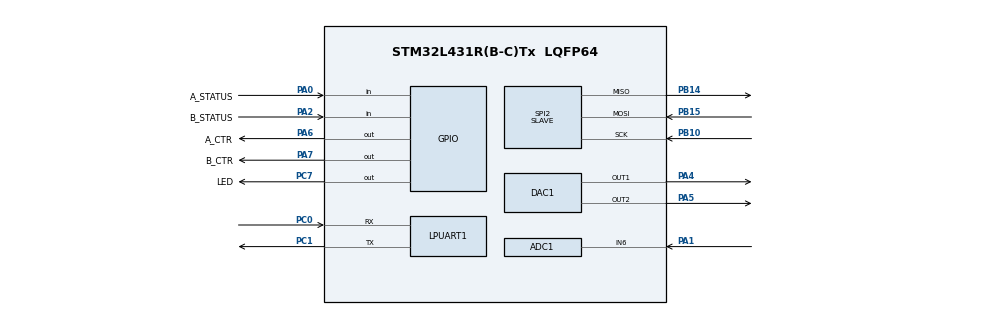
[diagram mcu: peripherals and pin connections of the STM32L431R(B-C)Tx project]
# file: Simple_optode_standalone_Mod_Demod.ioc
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ADC1.Channel-1\#ChannelRegularConversion=ADC_CHANNEL_6
ADC1.ContinuousConvMode=ENABLE
ADC1.NbrOfConversionFlag=1
ADC1.OffsetNumber-1\#ChannelRegularConversion=ADC_OFFSET_NONE
ADC1.Rank-1\#ChannelRegularConversion=1
ADC1.Resolution=ADC_RESOLUTION_12B
ADC1.SamplingTime-1\#ChannelRegularConversion=ADC_SAMPLETIME_2CYCLES_5
ADC1.master=1
DAC1.DAC_Channel-DAC_OUT2_ExtAndInt=DAC_CHANNEL_2
Mcu.Family=STM32L4
Mcu.Name=STM32L431R(B-C)Tx
Mcu.Package=LQFP64
NVIC.ADC1_IRQn=true\:0\:0\:false\:false\:true\:true\:true
NVIC.PriorityGroup=NVIC_PRIORITYGROUP_4
NVIC.TIM1_UP_TIM16_IRQn=true\:0\:0\:false\:false\:true\:true\:true
PA0.GPIO_Label=A_STATUS
PA0.Signal=GPIO_Input
PA1.Signal=ADCx_IN6
PA13\ (JTMS-SWDIO).Mode=Serial_Wire
PA13\ (JTMS-SWDIO).Signal=SYS_JTMS-SWDIO
PA14\ (JTCK-SWCLK).Mode=Serial_Wire
PA14\ (JTCK-SWCLK).Signal=SYS_JTCK-SWCLK
PA2.GPIO_Label=B_STATUS
PA2.Signal=GPIO_Input
PA4.Signal=COMP_DAC11_group
PA5.Signal=COMP_DAC12_group
PA6.GPIO_Label=A_CTR
PA6.Signal=GPIO_Output
PA7.GPIO_Label=B_CTR
PA7.Signal=GPIO_Output
PB10.Mode=Full_Duplex_Slave
PB10.Signal=SPI2_SCK
PB12.Signal=SPI2_NSS
PB14.Mode=Full_Duplex_Slave
PB14.Signal=SPI2_MISO
PB15.Mode=Full_Duplex_Slave
PB15.Signal=SPI2_MOSI
PC0.Mode=Asynchronous
PC0.Signal=LPUART1_RX
PC1.Mode=Asynchronous
PC1.Signal=LPUART1_TX
PC14-OSC32_IN\ (PC14).Mode=LSE-External-Oscillator
PC14-OSC32_IN\ (PC14).Signal=RCC_OSC32_IN
PC15-OSC32_OUT\ (PC15).Mode=LSE-External-Oscillator
PC15-OSC32_OUT\ (PC15).Signal=RCC_OSC32_OUT
PC7.GPIO_Label=LED
PC7.Signal=GPIO_Output
PH0-OSC_IN\ (PH0).Mode=HSE-External-Oscillator
PH0-OSC_IN\ (PH0).Signal=RCC_OSC_IN
PH1-OSC_OUT\ (PH1).Mode=HSE-External-Oscillator
PH1-OSC_OUT\ (PH1).Signal=RCC_OSC_OUT
ProjectManager.HeapSize=0x200
ProjectManager.StackSize=0x400
ProjectManager.TargetToolchain=STM32CubeIDE
RCC.ADCFreq_Value=32000000
RCC.HSE_VALUE=8000000
RCC.HSI48_VALUE=48000000
RCC.HSI_VALUE=16000000
RCC.MSI_VALUE=4000000
RCC.PLLSAI1N=16
RCC.VCOOutputFreq_Value=32000000
SH.ADCx_IN6.0=ADC1_IN6,IN6-Single-Ended
SH.COMP_DAC11_group.0=DAC1_OUT1,DAC_OUT1_ExtAndInt
SH.COMP_DAC12_group.0=DAC1_OUT2,DAC_OUT2_ExtAndInt
SPI2.Direction=SPI_DIRECTION_2LINES
SPI2.Mode=SPI_MODE_SLAVE
SPI2.VirtualType=VM_SLAVE
TIM16.Period=10000-1
TIM16.Prescaler=80-1
VP_TIM16_VS_ClockSourceINT.Mode=Enable_Timer
board=custom

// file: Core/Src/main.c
   /* USER CODE BEGIN Header */
/**
  ******************************************************************************
  * @file           : main.c
  * @brief          : This code is used to both modulation and demodulation in standalone optode
  * @Author			: UG Chathura Jayasankha
  ******************************************************************************
  * @attention
  *
  * <h2><center>&copy; Copyright (c) 2022 STMicroelectronics.
  * All rights reserved.</center></h2>
  *
  * This software component is licensed by ST under BSD 3-Clause license,
  * the "License"; You may not use this file except in compliance with the
  * License. You may obtain a copy of the License at:
  *                        opensource.org/licenses/BSD-3-Clause
  *
  ******************************************************************************
  */
/* USER CODE END Header */
#include "main.h"

/* USER CODE BEGIN Includes */
#include <stdio.h>
#include <string.h>
#include <math.h>
/* USER CODE END Includes */

/* USER CODE BEGIN PD */
#define pi 3.14159
#define FcutOff 5 //this is the cutoff frequency
#define Fs 10000 //change this
/* USER CODE END PD */

ADC_HandleTypeDef hadc1;

DAC_HandleTypeDef hdac1;

UART_HandleTypeDef hlpuart1;

SPI_HandleTypeDef hspi2;

TIM_HandleTypeDef htim16;

/* USER CODE BEGIN PV */
uint16_t DAC_val = 2047;

// following counter is used to iterate over the new samples.
//when it incremented, new adc readings will be taken
//when it hits multiples of 10 or so, it changes the state of the corresponding led
//when it hits multiples of 100 or so, it changes the LED on action.
int sample_counter = 0;

uint16_t active_channel = ((uint16_t)0x0040);  //((uint16_t)0x0080) for channel 2
int channel_state = GPIO_PIN_SET; //GPIO_PIN_RESET

float g = 0.0;
g =	cos((2 * pi * FcutOff)/Fs);
//double alpha = g - 1.0 + math.sqrt(g * g - 4.0 * g + 3.0);
//double alpha_min = 1.0 - alpha;

/* USER CODE END PV */

void SystemClock_Config(void);
static void MX_GPIO_Init(void);
static void MX_ADC1_Init(void);
static void MX_DAC1_Init(void);
static void MX_TIM16_Init(void);
static void MX_LPUART1_UART_Init(void);
static void MX_SPI2_Init(void);

/* USER CODE BEGIN 0 */
uint16_t adc_reading;
char msg[10];
char uart_buf[100];
int uart_buf_len;
/* USER CODE END 0 */

int main(void)
{

  /* MCU Configuration--------------------------------------------------------*/

  /* Reset of all peripherals, Initializes the Flash interface and the Systick. */
  HAL_Init();

  /* Configure the system clock */
  SystemClock_Config();

  /* Initialize all configured peripherals */
  MX_GPIO_Init();
  MX_ADC1_Init();
  MX_DAC1_Init();
  MX_TIM16_Init();
  MX_LPUART1_UART_Init();
  MX_SPI2_Init();
  /* USER CODE BEGIN 2 */
  // switching on led to show the fnirs start
	HAL_GPIO_WritePin(GPIOB, GPIO_PIN_7, GPIO_PIN_SET);
	HAL_Delay(500);
	HAL_GPIO_WritePin(GPIOB, GPIO_PIN_7, GPIO_PIN_RESET);
	HAL_Delay(500);
	HAL_GPIO_WritePin(GPIOB, GPIO_PIN_7, GPIO_PIN_SET);
	HAL_Delay(500);
	HAL_GPIO_WritePin(GPIOB, GPIO_PIN_7, GPIO_PIN_RESET);
	HAL_Delay(500);
	HAL_GPIO_WritePin(GPIOB, GPIO_PIN_7, GPIO_PIN_SET);
	HAL_Delay(500);
	HAL_GPIO_WritePin(GPIOB, GPIO_PIN_7, GPIO_PIN_RESET);
	HAL_Delay(500);

	//usb output as a test
	uart_buf_len = sprintf(uart_buf, "Timer starting ...\r\n");
	HAL_UART_Transmit(&hlpuart1, (uint8_t *)uart_buf, uart_buf_len, 100);
	// HAL_UART_Transmit(huart, pData, Size, Timeout)

	//start interrupt for ADC
	HAL_ADC_Start_IT (&hadc1);

	//start interrupt timer
	HAL_TIM_Base_Start_IT(&htim16);

	//start DAC
	HAL_DAC_Start(&hdac1, DAC_CHANNEL_1);
	HAL_DAC_Start(&hdac1, DAC_CHANNEL_2);
	HAL_DAC_SetValue(&hdac1, DAC1_CHANNEL_1, DAC_ALIGN_12B_R, DAC_val);
	HAL_DAC_SetValue(&hdac1, DAC1_CHANNEL_2, DAC_ALIGN_12B_R, DAC_val);

  /* USER CODE END 2 */

  /* Infinite loop */
  while (1)
  {

    /* USER CODE BEGIN 3 */
	  if (sample_counter%5==0){
			if(channel_state){
				channel_state = GPIO_PIN_RESET;
			}else{
				channel_state = GPIO_PIN_SET;
			}

			if(sample_counter%100==0){
				HAL_UART_Transmit(&hlpuart1, 0, 1, HAL_MAX_DELAY);
				if(active_channel == 0x0040){
					active_channel = 0x0080;
				}else{
					active_channel = 0x0040;
				}
			}
	  }
	  HAL_GPIO_WritePin(GPIOA, active_channel, channel_state);
  }
  /* USER CODE END 3 */
}

void SystemClock_Config(void)
{
  RCC_OscInitTypeDef RCC_OscInitStruct = {0};
  RCC_ClkInitTypeDef RCC_ClkInitStruct = {0};

  /** Configure the main internal regulat or output voltage
  */
  if (HAL_PWREx_ControlVoltageScaling(PWR_REGULATOR_VOLTAGE_SCALE1) != HAL_OK)
  {
    Error_Handler();
  }
  /** Configure LSE Drive Capability
  */
  HAL_PWR_EnableBkUpAccess();
  __HAL_RCC_LSEDRIVE_CONFIG(RCC_LSEDRIVE_LOW);
  /** Initializes the RCC Oscillators according to the specified parameters
  * in the RCC_OscInitTypeDef structure.
  */
  RCC_OscInitStruct.OscillatorType = RCC_OSCILLATORTYPE_LSE|RCC_OSCILLATORTYPE_MSI;
  RCC_OscInitStruct.LSEState = RCC_LSE_ON;
  RCC_OscInitStruct.MSIState = RCC_MSI_ON;
  RCC_OscInitStruct.MSICalibrationValue = 0;
  RCC_OscInitStruct.MSIClockRange = RCC_MSIRANGE_6;
  RCC_OscInitStruct.PLL.PLLState = RCC_PLL_NONE;
  if (HAL_RCC_OscConfig(&RCC_OscInitStruct) != HAL_OK)
  {
    Error_Handler();
  }
  /** Initializes the CPU, AHB and APB buses clocks
  */
  RCC_ClkInitStruct.ClockType = RCC_CLOCKTYPE_HCLK|RCC_CLOCKTYPE_SYSCLK
                              |RCC_CLOCKTYPE_PCLK1|RCC_CLOCKTYPE_PCLK2;
  RCC_ClkInitStruct.SYSCLKSource = RCC_SYSCLKSOURCE_MSI;
  RCC_ClkInitStruct.AHBCLKDivider = RCC_SYSCLK_DIV1;
  RCC_ClkInitStruct.APB1CLKDivider = RCC_HCLK_DIV1;
  RCC_ClkInitStruct.APB2CLKDivider = RCC_HCLK_DIV1;

  if (HAL_RCC_ClockConfig(&RCC_ClkInitStruct, FLASH_LATENCY_0) != HAL_OK)
  {
    Error_Handler();
  }
  /** Enable MSI Auto calibration
  */
  HAL_RCCEx_EnableMSIPLLMode();
}

static void MX_ADC1_Init(void)
{

  ADC_ChannelConfTypeDef sConfig = {0};

  /** Common config
  */
  hadc1.Instance = ADC1;
  hadc1.Init.ClockPrescaler = ADC_CLOCK_ASYNC_DIV1;
  hadc1.Init.Resolution = ADC_RESOLUTION_12B;
  hadc1.Init.DataAlign = ADC_DATAALIGN_RIGHT;
  hadc1.Init.ScanConvMode = ADC_SCAN_DISABLE;
  hadc1.Init.EOCSelection = ADC_EOC_SINGLE_CONV;
  hadc1.Init.LowPowerAutoWait = DISABLE;
  hadc1.Init.ContinuousConvMode = ENABLE;
  hadc1.Init.NbrOfConversion = 1;
  hadc1.Init.DiscontinuousConvMode = DISABLE;
  hadc1.Init.ExternalTrigConv = ADC_SOFTWARE_START;
  hadc1.Init.ExternalTrigConvEdge = ADC_EXTERNALTRIGCONVEDGE_NONE;
  hadc1.Init.DMAContinuousRequests = DISABLE;
  hadc1.Init.Overrun = ADC_OVR_DATA_PRESERVED;
  hadc1.Init.OversamplingMode = DISABLE;
  if (HAL_ADC_Init(&hadc1) != HAL_OK)
  {
    Error_Handler();
  }
  /** Configure Regular Channel
  */
  sConfig.Channel = ADC_CHANNEL_6;
  sConfig.Rank = ADC_REGULAR_RANK_1;
  sConfig.SamplingTime = ADC_SAMPLETIME_2CYCLES_5;
  sConfig.SingleDiff = ADC_SINGLE_ENDED;
  sConfig.OffsetNumber = ADC_OFFSET_NONE;
  sConfig.Offset = 0;
  if (HAL_ADC_ConfigChannel(&hadc1, &sConfig) != HAL_OK)
  {
    Error_Handler();
  }

}

static void MX_DAC1_Init(void)
{

  DAC_ChannelConfTypeDef sConfig = {0};

  /** DAC Initialization
  */
  hdac1.Instance = DAC1;
  if (HAL_DAC_Init(&hdac1) != HAL_OK)
  {
    Error_Handler();
  }
  /** DAC channel OUT1 config
  */
  sConfig.DAC_SampleAndHold = DAC_SAMPLEANDHOLD_DISABLE;
  sConfig.DAC_Trigger = DAC_TRIGGER_NONE;
  sConfig.DAC_OutputBuffer = DAC_OUTPUTBUFFER_ENABLE;
  sConfig.DAC_ConnectOnChipPeripheral = DAC_CHIPCONNECT_ENABLE;
  sConfig.DAC_UserTrimming = DAC_TRIMMING_FACTORY;
  if (HAL_DAC_ConfigChannel(&hdac1, &sConfig, DAC_CHANNEL_1) != HAL_OK)
  {
    Error_Handler();
  }
  /** DAC channel OUT2 config
  */
  if (HAL_DAC_ConfigChannel(&hdac1, &sConfig, DAC_CHANNEL_2) != HAL_OK)
  {
    Error_Handler();
  }

}

static void MX_LPUART1_UART_Init(void)
{

  hlpuart1.Instance = LPUART1;
  hlpuart1.Init.BaudRate = 209700;
  hlpuart1.Init.WordLength = UART_WORDLENGTH_7B;
  hlpuart1.Init.StopBits = UART_STOPBITS_1;
  hlpuart1.Init.Parity = UART_PARITY_NONE;
  hlpuart1.Init.Mode = UART_MODE_TX_RX;
  hlpuart1.Init.HwFlowCtl = UART_HWCONTROL_NONE;
  hlpuart1.Init.OneBitSampling = UART_ONE_BIT_SAMPLE_DISABLE;
  hlpuart1.AdvancedInit.AdvFeatureInit = UART_ADVFEATURE_NO_INIT;
  if (HAL_UART_Init(&hlpuart1) != HAL_OK)
  {
    Error_Handler();
  }

}

static void MX_SPI2_Init(void)
{

  /* SPI2 parameter configuration*/
  hspi2.Instance = SPI2;
  hspi2.Init.Mode = SPI_MODE_SLAVE;
  hspi2.Init.Direction = SPI_DIRECTION_2LINES;
  hspi2.Init.DataSize = SPI_DATASIZE_4BIT;
  hspi2.Init.CLKPolarity = SPI_POLARITY_LOW;
  hspi2.Init.CLKPhase = SPI_PHASE_1EDGE;
  hspi2.Init.NSS = SPI_NSS_SOFT;
  hspi2.Init.FirstBit = SPI_FIRSTBIT_MSB;
  hspi2.Init.TIMode = SPI_TIMODE_DISABLE;
  hspi2.Init.CRCCalculation = SPI_CRCCALCULATION_DISABLE;
  hspi2.Init.CRCPolynomial = 7;
  hspi2.Init.CRCLength = SPI_CRC_LENGTH_DATASIZE;
  hspi2.Init.NSSPMode = SPI_NSS_PULSE_DISABLE;
  if (HAL_SPI_Init(&hspi2) != HAL_OK)
  {
    Error_Handler();
  }

}

static void MX_TIM16_Init(void)
{

  htim16.Instance = TIM16;
  htim16.Init.Prescaler = 80-1;
  htim16.Init.CounterMode = TIM_COUNTERMODE_UP;
  htim16.Init.Period = 10000-1;
  htim16.Init.ClockDivision = TIM_CLOCKDIVISION_DIV1;
  htim16.Init.RepetitionCounter = 0;
  htim16.Init.AutoReloadPreload = TIM_AUTORELOAD_PRELOAD_DISABLE;
  if (HAL_TIM_Base_Init(&htim16) != HAL_OK)
  {
    Error_Handler();
  }

}

static void MX_GPIO_Init(void)
{
  GPIO_InitTypeDef GPIO_InitStruct = {0};

  /* GPIO Ports Clock Enable */
  __HAL_RCC_GPIOC_CLK_ENABLE();
  __HAL_RCC_GPIOH_CLK_ENABLE();
  __HAL_RCC_GPIOA_CLK_ENABLE();
  __HAL_RCC_GPIOB_CLK_ENABLE();

  /*Configure GPIO pin Output Level */
  HAL_GPIO_WritePin(GPIOA, A_CTR_Pin|B_CTR_Pin, GPIO_PIN_RESET);

  /*Configure GPIO pin Output Level */
  HAL_GPIO_WritePin(LED_GPIO_Port, LED_Pin, GPIO_PIN_RESET);

  /*Configure GPIO pins : A_STATUS_Pin B_STATUS_Pin */
  GPIO_InitStruct.Pin = A_STATUS_Pin|B_STATUS_Pin;
  GPIO_InitStruct.Mode = GPIO_MODE_INPUT;
  GPIO_InitStruct.Pull = GPIO_NOPULL;
  HAL_GPIO_Init(GPIOA, &GPIO_InitStruct);

  /*Configure GPIO pins : A_CTR_Pin B_CTR_Pin */
  GPIO_InitStruct.Pin = A_CTR_Pin|B_CTR_Pin;
  GPIO_InitStruct.Mode = GPIO_MODE_OUTPUT_PP;
  GPIO_InitStruct.Pull = GPIO_NOPULL;
  GPIO_InitStruct.Speed = GPIO_SPEED_FREQ_LOW;
  HAL_GPIO_Init(GPIOA, &GPIO_InitStruct);

  /*Configure GPIO pin : LED_Pin */
  GPIO_InitStruct.Pin = LED_Pin;
  GPIO_InitStruct.Mode = GPIO_MODE_OUTPUT_PP;
  GPIO_InitStruct.Pull = GPIO_NOPULL;
  GPIO_InitStruct.Speed = GPIO_SPEED_FREQ_LOW;
  HAL_GPIO_Init(LED_GPIO_Port, &GPIO_InitStruct);

}

/* USER CODE BEGIN 4 */
//Interrupt service routine for periodic timer interrupt
void HAL_TIM_PeriodElapsedCallback(TIM_HandleTypeDef *htim){
	if (htim==&htim16){

	sample_counter+=1;
	//HAL_Delay(1);

	//Read ADC reading
	//HAL_ADC_Start(&hadc1);
	HAL_ADC_PollForConversion(&hadc1, HAL_MAX_DELAY);
	adc_reading = HAL_ADC_GetValue(&hadc1);

	//Here onwards we do demodulating

	sprintf(msg, "%hu\r\n", adc_reading);

	HAL_UART_Transmit(&hlpuart1, (uint8_t*)msg, strlen(msg), HAL_MAX_DELAY);
	}
}
/* USER CODE END 4 */

void Error_Handler(void)
{
  __disable_irq();
  while (1)
  {
  }
}

/************************ (C) COPYRIGHT STMicroelectronics *****END OF FILE****/
